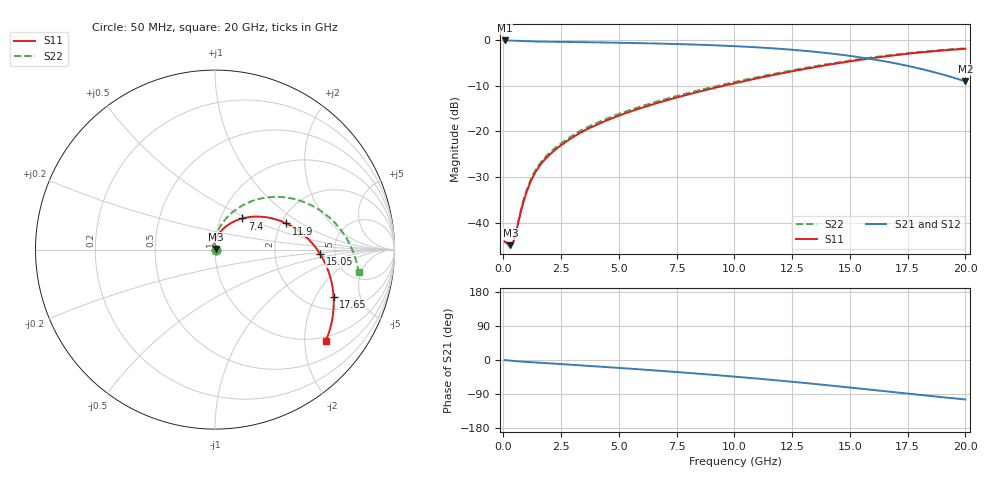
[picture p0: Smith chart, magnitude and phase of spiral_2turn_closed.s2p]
#  Hz  S  RI  R  50
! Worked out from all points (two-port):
!   400 points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, 50 MHz to 20 GHz, reference 50 ohm
!   highest |S21| = -0.12 dB at 50 MHz (marker M1); lowest = -9.1 dB at 20 GHz (marker M2)
!   |S21| within 3 dB of the highest: start of sweep to 14.42 GHz
!   lowest |S11| = -45.0 dB at 300 MHz (marker M3), VSWR 1.01, Z = 50.5 + j0.325 ohm
!   |S11| at or under -10 dB: start of sweep to 9.56 GHz
!   |S22| runs from -45.1 to -1.8 dB; largest |S21 - S12| = 0.0012
!   S11 on the Smith chart (normalised r, x): 50 MHz: 1.01, +0.00; 7.4 GHz: 1.26, +0.46; 11.9 GHz: 2.14, +0.76; 15.05 GHz: 3.80, -0.27; 17.65 GHz: 2.66, -2.86; 20 GHz: 0.89, -2.52
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5e7  0.00619 0.000457  0.9868 -0.00528  0.9867 -0.00526  0.00613 0.000471
3e8  0.00463 0.00322  0.9834 -0.0309  0.9833 -0.0308  0.00442 0.00332
4e8  0.00352 0.00476  0.9809 -0.0404  0.9809 -0.0403  0.00319 0.00491
4.5e8  0.00291 0.00566  0.9795 -0.0449  0.9795 -0.0448  0.00251 0.00583
8e8  -0.00141 0.0146  0.9682 -0.0723  0.9683 -0.0723  -0.00251 0.015
1e9  -0.00291 0.0214  0.9622 -0.0851  0.9623 -0.0851  -0.00453 0.0221
1.2e9  -0.00319 0.0287  0.9575 -0.0967  0.9575 -0.0967  -0.0054 0.0298
1.45e9  -0.00191 0.0379  0.9532 -0.111  0.9531 -0.1111  -0.00489 0.0395
1.75e9  0.0012 0.0479  0.9491 -0.1293  0.949 -0.1293  -0.00277 0.0502
2.15e9  0.00614 0.0597  0.9428 -0.1553  0.9428 -0.1552  0.000694 0.063
3.4e9  0.0265 0.0949  0.9163 -0.233  0.9163 -0.233  0.0146 0.1022
4.9e9  0.063 0.1307  0.8744 -0.3251  0.8743 -0.3251  0.0402 0.1463
6.7e9  0.1234 0.1641  0.8055 -0.4302  0.8054 -0.4302  0.0842 0.1965
7.4e9  0.152 0.1733  0.7726 -0.4688  0.7725 -0.4688  0.1058 0.2149
1.005e10  0.2854 0.1802  0.6137 -0.5935  0.6134 -0.5935  0.2155 0.2736
1.19e10  0.3979 0.1457  0.4711 -0.6483  0.4707 -0.648  0.3217 0.2933
1.335e10  0.4892 0.0869  0.3458 -0.6622  0.3453 -0.6617  0.4205 0.2863
1.505e10  0.5847 -0.023  0.1954 -0.6371  0.1951 -0.6363  0.5456 0.2422
1.67e10  0.6463 -0.1688  0.0639 -0.5677  0.0639 -0.5667  0.6613 0.1557
1.765e10  0.6606 -0.265  0.00254 -0.5106  0.00285 -0.5096  0.7176 0.0868
1.88e10  0.6538 -0.3855  -0.0525 -0.4299  -0.052 -0.4289  0.7693 -0.0111
2e10  0.618 -0.5074  -0.0856 -0.3404  -0.085 -0.3398  0.7998 -0.1241
